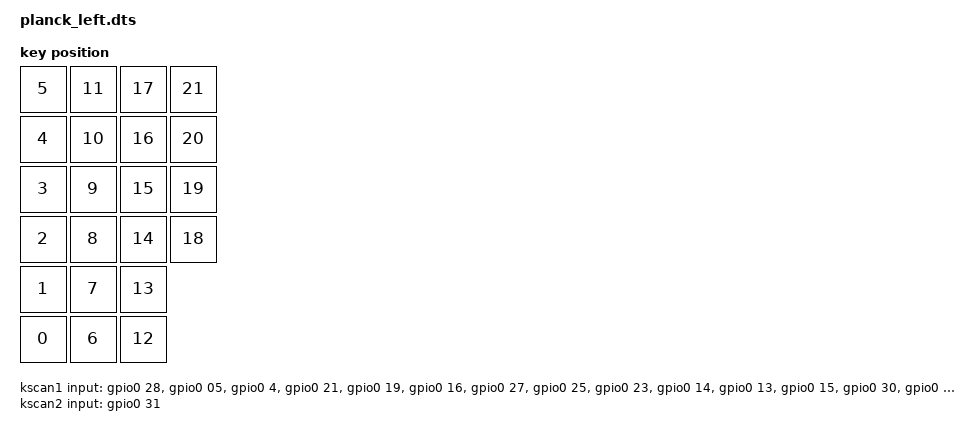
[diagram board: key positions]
#include "planck.dtsi"
#include <dt-bindings/led/led.h>
#include "leds_left.dtsi"

&left_encoder {
    status = "okay";
};

&sensors {
	sensors = <&left_encoder>;
};

/ {
	chosen {
		zmk,physical-layout = &left_physical_layout;
	};

	// 左板：整体逆时针旋转 90°（4 列 x 6 行）
	left_physical_layout: left_physical_layout {
		compatible = "zmk,physical-layout";
		display-name = "PlanckBoy Left";
		transform = <&default_transform>;
		kscan = <&kscan0>;
		keys  //                     w   h    x    y   rot   rx   ry
			= <&key_physical_attrs 100 100    0  500     0    0    0>
			, <&key_physical_attrs 100 100    0  400     0    0    0>
			, <&key_physical_attrs 100 100    0  300     0    0    0>
			, <&key_physical_attrs 100 100    0  200     0    0    0>
			, <&key_physical_attrs 100 100    0  100     0    0    0>
			, <&key_physical_attrs 100 100    0    0     0    0    0>
			, <&key_physical_attrs 100 100  100  500     0    0    0>
			, <&key_physical_attrs 100 100  100  400     0    0    0>
			, <&key_physical_attrs 100 100  100  300     0    0    0>
			, <&key_physical_attrs 100 100  100  200     0    0    0>
			, <&key_physical_attrs 100 100  100  100     0    0    0>
			, <&key_physical_attrs 100 100  100    0     0    0    0>
			, <&key_physical_attrs 100 100  200  500     0    0    0>
			, <&key_physical_attrs 100 100  200  400     0    0    0>
			, <&key_physical_attrs 100 100  200  300     0    0    0>
			, <&key_physical_attrs 100 100  200  200     0    0    0>
			, <&key_physical_attrs 100 100  200  100     0    0    0>
			, <&key_physical_attrs 100 100  200    0     0    0    0>
			, <&key_physical_attrs 100 100  300  300     0    0    0>
			, <&key_physical_attrs 100 100  300  200     0    0    0>
			, <&key_physical_attrs 100 100  300  100     0    0    0>
			, <&key_physical_attrs 100 100  300    0     0    0    0>
			;
	};
  kscan0: kscan_composite {
		compatible = "zmk,kscan-composite";
		columns =<50>;
        wakeup-source;
		matrix {
			kscan = <&kscan1>;
		};
		encoder {
			kscan = <&kscan2>;
			row-offset=<0>;
			col-offset=<18>;
		};
	};
	kscan1: kscan {
		compatible = "zmk,kscan-gpio-direct";
		wakeup-source;
		input-gpios
			=  <&gpio0  28 (GPIO_ACTIVE_LOW | GPIO_PULL_UP)>  //5
			, <&gpio0  05 (GPIO_ACTIVE_LOW | GPIO_PULL_UP)>  //5
		    , <&gpio0  4 (GPIO_ACTIVE_LOW | GPIO_PULL_UP)>  //12
			, <&gpio0  21 (GPIO_ACTIVE_LOW | GPIO_PULL_UP)>  //13
            , <&gpio0  19 (GPIO_ACTIVE_LOW | GPIO_PULL_UP)> //18
            ,<&gpio0  16 (GPIO_ACTIVE_LOW | GPIO_PULL_UP)>  //19
			, <&gpio0  27 (GPIO_ACTIVE_LOW | GPIO_PULL_UP)>  //14
			, <&gpio0  25 (GPIO_ACTIVE_LOW | GPIO_PULL_UP)>  //14
			, <&gpio0  23 (GPIO_ACTIVE_LOW | GPIO_PULL_UP)>  //17
			, <&gpio0	14 (GPIO_ACTIVE_LOW | GPIO_PULL_UP)>  //20
            , <&gpio0  13 (GPIO_ACTIVE_LOW | GPIO_PULL_UP)> //ex1
            , <&gpio0  15 (GPIO_ACTIVE_LOW | GPIO_PULL_UP)> //4
			, <&gpio0  30 (GPIO_ACTIVE_LOW | GPIO_PULL_UP)> //16
			, <&gpio0  3 (GPIO_ACTIVE_LOW | GPIO_PULL_UP)>  //21
            , <&gpio1  12 (GPIO_ACTIVE_LOW | GPIO_PULL_UP)> //ex2
			, <&gpio1  11 (GPIO_ACTIVE_LOW | GPIO_PULL_UP)>  //3
		    , <&gpio1  05 (GPIO_ACTIVE_LOW | GPIO_PULL_UP)> //6
            , <&gpio1  13 (GPIO_ACTIVE_LOW | GPIO_PULL_UP)>  //11
			, <&gpio0 29 (GPIO_ACTIVE_LOW | GPIO_PULL_UP)> //2
			, <&gpio0 2 (GPIO_ACTIVE_LOW | GPIO_PULL_UP)>  //7
			, <&gpio1 15 (GPIO_ACTIVE_LOW | GPIO_PULL_UP)>  //10
				, <&gpio1 10 (GPIO_ACTIVE_LOW | GPIO_PULL_UP)>  //15
		;
	};
	kscan2: kscan_encoder {
		compatible = "zmk,kscan-gpio-direct";
		wakeup-source;
		input-gpios
			=  <&gpio0 31 (GPIO_ACTIVE_LOW | GPIO_PULL_UP)>  //5
		;
	};
};
